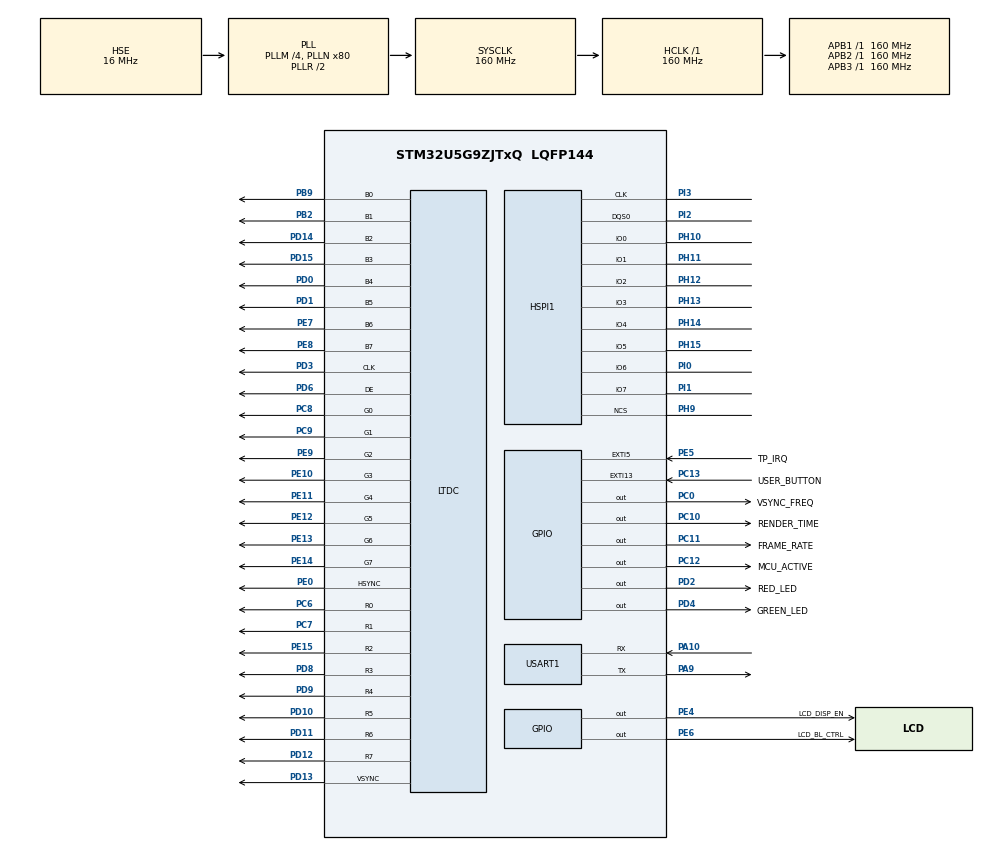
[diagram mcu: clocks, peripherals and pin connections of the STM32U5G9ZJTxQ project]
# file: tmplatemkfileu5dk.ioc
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CORTEX_M33_NS.userName=CORTEX_M33
DCACHE1.DCACHE_Read_Burst_Type=DCACHE_READ_BURST_INCR
DCACHE2.DCACHE_Read_Burst_Type=DCACHE_READ_BURST_INCR
DMA2D.ColorMode=DMA2D_OUTPUT_RGB565
DMA2D.Mode=DMA2D_R2M
GPDMA1.DATAALIGNEMENT_GPDMACH0=DMA_DATA_PACK
GPDMA1.DATAHANDLING_GPDMACH0=ENABLE
GPDMA1.DESTBURSTLENGTH_GPDMACH0=8
GPDMA1.DESTBURSTLENGTH_GPDMACH1=8
GPDMA1.DESTDATAWIDTH_GPDMACH0=DMA_DEST_DATAWIDTH_WORD
GPDMA1.DESTDATAWIDTH_GPDMACH1=DMA_DEST_DATAWIDTH_WORD
GPDMA1.DESTINC_GPDMACH1=DMA_DINC_INCREMENTED
GPDMA1.DIRECTION_GPDMACH0=DMA_MEMORY_TO_PERIPH
GPDMA1.IPHANDLE_GPDMACH0-SIMPLEREQUEST_GPDMACH0=__NULL
GPDMA1.IPHANDLE_GPDMACH1-SIMPLEREQUEST_GPDMACH1=__NULL
GPDMA1.PRIORITY_GPDMACH0=DMA_HIGH_PRIORITY
GPDMA1.PRIORITY_GPDMACH1=DMA_HIGH_PRIORITY
GPDMA1.REQUEST_GPDMACH0=GPDMA1_REQUEST_JPEG_RX
GPDMA1.REQUEST_GPDMACH1=GPDMA1_REQUEST_JPEG_TX
GPDMA1.SRCBURSTLENGTH_GPDMACH0=8
GPDMA1.SRCBURSTLENGTH_GPDMACH1=8
GPDMA1.SRCDATAWIDTH_GPDMACH0=DMA_SRC_DATAWIDTH_BYTE
GPDMA1.SRCDATAWIDTH_GPDMACH1=DMA_SRC_DATAWIDTH_WORD
GPDMA1.SRCINC_GPDMACH0=DMA_SINC_INCREMENTED
GPDMA1.TRANSFERALLOCATEDPORTDEST_GPDMACH0=DMA_DEST_ALLOCATED_PORT0
GPDMA1.TRANSFERALLOCATEDPORTDEST_GPDMACH1=DMA_DEST_ALLOCATED_PORT1
GPDMA1.TRANSFERALLOCATEDPORTSRC_GPDMACH0=DMA_SRC_ALLOCATED_PORT1
HSPI1.ChipSelectHighTimeCycle=2
HSPI1.DeviceType=SPI_DEVICE_FLASH
HSPI1.FifoThresholdByte=4
HSPI1.MemorySize=HAL_XSPI_SIZE_1GB
HSPI1.MemoryType=HAL_XSPI_MEMTYPE_MACRONIX
JPEG.JPEG_RGB_FORMAT=JPEG_RGB565
JPEG.USE_JPEG_ENCODER=0
LTDC.ActiveH=480
LTDC.ActiveW=800
LTDC.Alpha_L0=255
LTDC.HBP=8
LTDC.HFP=8
LTDC.HSync=5
LTDC.ImageHeight_L0=480
LTDC.ImageWidth_L0=800
LTDC.Layers=0
LTDC.PixelFormat_L0=LTDC_PIXEL_FORMAT_RGB565
LTDC.Red=0
LTDC.VBP=8
LTDC.VFP=14
LTDC.VSync=5
LTDC.WindowX0_L0=0
LTDC.WindowX1_L0=800
LTDC.WindowY0_L0=0
LTDC.WindowY1_L0=480
Mcu.Family=STM32U5
Mcu.Name=STM32U5G9ZJTxQ
Mcu.Package=LQFP144
NVIC.DMA2D_IRQn=true\:0\:0\:false\:false\:true\:false\:true\:true\:true
NVIC.EXTI13_IRQn=true\:5\:0\:true\:false\:true\:false\:true\:true\:true
NVIC.GPDMA1_Channel0_IRQn=true\:6\:0\:true\:false\:true\:true\:false\:true\:true
NVIC.GPDMA1_Channel1_IRQn=true\:7\:0\:true\:false\:true\:true\:false\:true\:true
NVIC.GPU2D_ER_IRQn=true\:0\:0\:false\:false\:true\:false\:true\:true\:true
NVIC.GPU2D_IRQn=true\:0\:0\:false\:false\:true\:false\:true\:true\:true
NVIC.JPEG_IRQn=true\:8\:0\:true\:false\:true\:false\:true\:true\:true
NVIC.LTDC_ER_IRQn=true\:0\:0\:false\:false\:true\:false\:true\:true\:true
NVIC.LTDC_IRQn=true\:0\:0\:false\:false\:true\:false\:true\:true\:true
NVIC.PriorityGroup=NVIC_PRIORITYGROUP_4
NVIC.TIM6_IRQn=true\:15\:0\:false\:false\:true\:false\:false\:true\:true
NVIC.TimeBase=TIM6_IRQn
NVIC.TimeBaseIP=TIM6
PA10.Mode=Asynchronous
PA10.Signal=USART1_RX
PA13\ (JTMS/SWDIO).Mode=Serial_Wire
PA13\ (JTMS/SWDIO).Signal=DEBUG_JTMS-SWDIO
PA14\ (JTCK/SWCLK).Mode=Serial_Wire
PA14\ (JTCK/SWCLK).Signal=DEBUG_JTCK-SWCLK
PA9.Mode=Asynchronous
PA9.Signal=USART1_TX
PB2.Mode=RGB888
PB2.Signal=LTDC_B1
PB9.Mode=RGB888
PB9.Signal=LTDC_B0
PC0.GPIO_Label=VSYNC_FREQ
PC0.GPIO_Speed=GPIO_SPEED_FREQ_MEDIUM
PC0.Signal=GPIO_Output
PC10.GPIO_Label=RENDER_TIME
PC10.GPIO_Speed=GPIO_SPEED_FREQ_MEDIUM
PC10.Signal=GPIO_Output
PC11.GPIO_Label=FRAME_RATE
PC11.GPIO_Speed=GPIO_SPEED_FREQ_MEDIUM
PC11.Signal=GPIO_Output
PC12.GPIO_Label=MCU_ACTIVE
PC12.GPIO_Speed=GPIO_SPEED_FREQ_MEDIUM
PC12.Signal=GPIO_Output
PC13.GPIO_Label=USER_BUTTON
PC13.GPIO_ModeDefaultEXTI=GPIO_MODE_IT_FALLING
PC13.GPIO_PuPd=GPIO_PULLDOWN
PC13.Signal=GPXTI13
PC6.Mode=RGB888
PC6.Signal=LTDC_R0
PC7.Mode=RGB888
PC7.Signal=LTDC_R1
PC8.Mode=RGB888
PC8.Signal=LTDC_G0
PC9.Mode=RGB888
PC9.Signal=LTDC_G1
PD0.Mode=RGB888
PD0.Signal=LTDC_B4
PD1.Mode=RGB888
PD1.Signal=LTDC_B5
PD10.Mode=RGB888
PD10.Signal=LTDC_R5
PD11.Mode=RGB888
PD11.Signal=LTDC_R6
PD12.Mode=RGB888
PD12.Signal=LTDC_R7
PD13.Mode=RGB888
PD13.Signal=LTDC_VSYNC
PD14.Mode=RGB888
PD14.Signal=LTDC_B2
PD15.Mode=RGB888
PD15.Signal=LTDC_B3
PD2.GPIO_Label=RED_LED
PD2.GPIO_ModeDefaultOutputPP=GPIO_MODE_OUTPUT_OD
PD2.GPIO_PuPd=GPIO_NOPULL
PD2.GPIO_Speed=GPIO_SPEED_FREQ_MEDIUM
PD2.PinState=GPIO_PIN_SET
PD2.Signal=GPIO_Output
PD3.Mode=RGB888
PD3.Signal=LTDC_CLK
PD4.GPIO_Label=GREEN_LED
PD4.GPIO_ModeDefaultOutputPP=GPIO_MODE_OUTPUT_OD
PD4.GPIO_PuPd=GPIO_NOPULL
PD4.GPIO_Speed=GPIO_SPEED_FREQ_MEDIUM
PD4.PinState=GPIO_PIN_SET
PD4.Signal=GPIO_Output
PD6.Mode=RGB888
PD6.Signal=LTDC_DE
PD8.Mode=RGB888
PD8.Signal=LTDC_R3
PD9.Mode=RGB888
PD9.Signal=LTDC_R4
PE0.Mode=RGB888
PE0.Signal=LTDC_HSYNC
PE10.Mode=RGB888
PE10.Signal=LTDC_G3
PE11.Mode=RGB888
PE11.Signal=LTDC_G4
PE12.Mode=RGB888
PE12.Signal=LTDC_G5
PE13.Mode=RGB888
PE13.Signal=LTDC_G6
PE14.Mode=RGB888
PE14.Signal=LTDC_G7
PE15.Mode=RGB888
PE15.Signal=LTDC_R2
PE4.GPIO_Label=LCD_DISP_EN
PE4.PinState=GPIO_PIN_SET
PE4.Signal=GPIO_Output
PE5.GPIO_Label=TP_IRQ
PE5.Signal=GPXTI5
PE6.GPIO_Label=LCD_BL_CTRL
PE6.GPIO_ModeDefaultOutputPP=GPIO_MODE_OUTPUT_OD
PE6.GPIO_PuPd=GPIO_NOPULL
PE6.PinState=GPIO_PIN_SET
PE6.Signal=GPIO_Output
PE7.Mode=RGB888
PE7.Signal=LTDC_B6
PE8.Mode=RGB888
PE8.Signal=LTDC_B7
PE9.Mode=RGB888
PE9.Signal=LTDC_G2
PH0-OSC_IN\ (PH0).Mode=HSE-External-Oscillator
PH0-OSC_IN\ (PH0).Signal=RCC_OSC_IN
PH1-OSC_OUT\ (PH1).Mode=HSE-External-Oscillator
PH1-OSC_OUT\ (PH1).Signal=RCC_OSC_OUT
PH10.Mode=octo_mode
PH10.Signal=HSPI1_IO0
PH11.Mode=octo_mode
PH11.Signal=HSPI1_IO1
PH12.Mode=octo_mode
PH12.Signal=HSPI1_IO2
PH13.Mode=octo_mode
PH13.Signal=HSPI1_IO3
PH14.Mode=octo_mode
PH14.Signal=HSPI1_IO4
PH15.Mode=octo_mode
PH15.Signal=HSPI1_IO5
PH9.Mode=octo_mode
PH9.Signal=HSPI1_NCS
PI0.Mode=octo_mode
PI0.Signal=HSPI1_IO6
PI1.Mode=octo_mode
PI1.Signal=HSPI1_IO7
PI2.Mode=octo_mode
PI2.Signal=HSPI1_DQS0
PI3.Mode=octo_mode
PI3.Signal=HSPI1_CLK
PWR.PowerMode=PWR_SMPS_SUPPLY
ProjectManager.HeapSize=0x200
ProjectManager.StackSize=0x400
ProjectManager.TargetToolchain=CMake
RCC.ADCFreq_Value=16000000
RCC.AHBFreq_Value=160000000
RCC.APB1Freq_Value=160000000
RCC.APB1TimFreq_Value=160000000
RCC.APB2Freq_Value=160000000
RCC.APB2TimFreq_Value=160000000
RCC.APB3Freq_Value=160000000
RCC.CortexFreq_Value=160000000
RCC.EPOD_VALUE=16000000
RCC.FLatency=FLASH_LATENCY_4
RCC.HCLKFreq_Value=160000000
RCC.HSE_VALUE=16000000
RCC.HSI48_VALUE=48000000
RCC.HSI_VALUE=16000000
RCC.LSE_VALUE=32768
RCC.LSIDIV_VALUE=32000
RCC.LTDCCLockSelection=RCC_LTDCCLKSOURCE_PLL3
RCC.MSI_VALUE=4000000
RCC.PLL2M=4
RCC.PLL2N=66
RCC.PLL2Source=RCC_PLLSOURCE_HSE
RCC.PLL3M=4
RCC.PLL3N=125
RCC.PLL3R=20
RCC.PLL3Source=RCC_PLLSOURCE_HSE
RCC.PLLM=4
RCC.PLLN=80
RCC.PLLSourceVirtual=RCC_PLLSOURCE_HSE
RCC.PWR_Regulator_Voltage_Scale=PWR_REGULATOR_VOLTAGE_SCALE1
RCC.SYSCLKFreq_VALUE=160000000
RCC.SYSCLKSource=RCC_SYSCLKSOURCE_PLLCLK
RCC.VCOOutputFreq_Value=320000000
STMicroelectronics.X-CUBE-TOUCHGFX.4.24.2.ApplicationCcGraphicsJjApplication=TouchGFXOoGenerator
STMicroelectronics.X-CUBE-TOUCHGFX.4.24.2.tgfx_app_mem_pool_size=4096*2
STMicroelectronics.X-CUBE-TOUCHGFX.4.24.2.tgfx_buffering_strategy=Double
STMicroelectronics.X-CUBE-TOUCHGFX.4.24.2.tgfx_display_interface=disp_ltdc
STMicroelectronics.X-CUBE-TOUCHGFX.4.24.2.tgfx_framebuffer_stride=Disabled
STMicroelectronics.X-CUBE-TOUCHGFX.4.24.2.tgfx_hardware_accelerator=dma_2d
STMicroelectronics.X-CUBE-TOUCHGFX.4.24.2.tgfx_nemap_accelerator=gpu2d_enabled
STMicroelectronics.X-CUBE-TOUCHGFX.4.24.2.tgfx_vector_fonts=Enabled
STMicroelectronics.X-CUBE-TOUCHGFX.4.24.2.tgfx_vector_rendering=Hardware
STMicroelectronics.X-CUBE-TOUCHGFX.4.24.2.tgfx_video=Hardware
STMicroelectronics.X-CUBE-TOUCHGFX.4.24.2.tgfx_video_streams=1
STMicroelectronics.X-CUBE-TOUCHGFX.4.24.2.tgfx_vsync=vsync_ltdc
STMicroelectronics.X-CUBE-TOUCHGFX.4.24.2_IsPackSelfContextualization=true
THREADX.TX_APP_CREATION=1
THREADX.TX_APP_GENERATE_INIT_CODE=true
THREADX.TX_APP_MEM_POOL_SIZE=1024*32
THREADX.TX_APP_STACK_SIZE=1024*2
THREADX.TX_TIMER_THREAD_STACK_SIZE=1024*2
THREADX.TX_TIMER_TICKS_PER_SECOND=1000
USART1.FIFOMode=FIFOMODE_ENABLE
USART1.SwapParam=ADVFEATURE_SWAP_DISABLE
USART1.VirtualMode-Asynchronous=VM_ASYNC
VP_CRC_VS_CRC.Mode=CRC_Activate
VP_DCACHE1_VS_DCACHE.Mode=DCACHE_Activate
VP_DCACHE2_VS_DCACHE.Mode=DCACHE_Activate
VP_DMA2D_VS_DMA2D.Mode=DMA2D_Activate
VP_GPDMA1_VS_GPDMACH0.Mode=SIMPLEREQUEST_GPDMACH0
VP_GPDMA1_VS_GPDMACH1.Mode=SIMPLEREQUEST_GPDMACH1
VP_GPU2D_VS_GPU2D.Mode=GPU2D_Activate
VP_ICACHE_VS_ICACHE.Mode=DirectMappedCache
VP_JPEG_VS_JPEG.Mode=JPEG_Activate
VP_LPBAMQUEUE_VS_QUEUE.Mode=QUEUEMODE
VP_LPBAM_VS_SIG1.Mode=SmartRun
VP_LPBAM_VS_SIG4.Mode=LPDMA1
VP_MEMORYMAP_VS_MEMORYMAP.Mode=CurAppReg
VP_PWR_VS_LPOM.Mode=PowerOptimisation
VP_PWR_VS_SECSignals.Mode=Security/Privilege
VP_RNG_VS_RNG.Mode=RNG_Activate
VP_STMicroelectronics.X-CUBE-TOUCHGFX_VS_GraphicsJjApplication_4.24.2.Mode=GraphicsJjApplication
VP_SYS_VS_tim6.Mode=TIM6
VP_THREADX_VS_RTOSJjThreadXJjCoreJjDefault.Mode=Core_Default
VP_TIM1_VS_ClockSourceINT.Mode=Internal
board=custom

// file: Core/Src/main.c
/* USER CODE BEGIN Header */
/**
  ******************************************************************************
  * @file           : main.c
  * @brief          : Main program body
  ******************************************************************************
  * @attention
  *
  * Copyright (c) 2025 STMicroelectronics.
  * All rights reserved.
  *
  * This software is licensed under terms that can be found in the LICENSE file
  * in the root directory of this software component.
  * If no LICENSE file comes with this software, it is provided AS-IS.
  *
  ******************************************************************************
  */
/* USER CODE END Header */
#include "app_threadx.h"
#include "main.h"
#include "jpeg_utils_conf.h"
#include "crc.h"
#include "dcache.h"
#include "dma2d.h"
#include "gpdma.h"
#include "gpu2d.h"
#include "hspi.h"
#include "icache.h"
#include "jpeg.h"
#include "ltdc.h"
#include "memorymap.h"
#include "rng.h"
#include "tim.h"
#include "usart.h"
#include "gpio.h"
#include "app_touchgfx.h"

/* USER CODE BEGIN Includes */
#include <app.h>
#include <logger.h>
/* USER CODE END Includes */

void SystemClock_Config(void);
static void SystemPower_Config(void);

/* USER CODE BEGIN 0 */

// #define RED_LED_Pin GPIO_PIN_2
// #define RED_LED_GPIO_Port GPIOD
// #define GREEN_LED_Pin GPIO_PIN_4
// #define GREEN_LED_GPIO_Port GPIOD

#define LOADER_RAM_BUFFER_SIZE (64 * 1024)
uint8_t __attribute__((section(".loader_ram_buff_section"))) loader_ram_buffer[LOADER_RAM_BUFFER_SIZE];

uint32_t __attribute__((section(".loader_ram_keep_section"))) loader_checksum;

// TODO idea to handle errors
// Can use limit sum: LOADER_RAM_BUFFER_SIZE * 255, much less than u32 max value.
uint32_t __attribute__((section(".loader_code_section"))) loader_copy_to_ext_flash(uint32_t flash_offset, uint32_t loader_bytes_count) {
  if (loader_bytes_count > LOADER_RAM_BUFFER_SIZE) {
    return 0xFFFFFFFF;
  }

  // Copy to flash
  uint32_t transfer_status = MY_NOR_transfer_block(
    flash_offset,
    loader_bytes_count,
    (uint8_t*)loader_ram_buffer,
    LOADER_RAM_BUFFER_SIZE
  );

  if (transfer_status > 0xFFFFFFF0) {
    return transfer_status;
  }

  // Calculate checksum
  uint32_t checksum = transfer_status;
  // for (uint32_t idx = 0; idx < loader_bytes_count; ++idx) {
  //   checksum += (uint32_t)(loader_ram_buffer[idx]);
  // }

  loader_bytes_count = 0;
  loader_checksum = checksum;
  HAL_GPIO_TogglePin(RED_LED_GPIO_Port, RED_LED_Pin);

  return checksum;
}

void __attribute__((section(".loader_code_section"))) Loader_Breakpoint() {
  green_reset();
  green_set();
}

void green_togl() {
  HAL_GPIO_TogglePin(GREEN_LED_GPIO_Port, GREEN_LED_Pin);
}

void green_set() {
  HAL_GPIO_WritePin(GREEN_LED_GPIO_Port, GREEN_LED_Pin, GPIO_PIN_RESET);
}

void green_reset() {
  HAL_GPIO_WritePin(GREEN_LED_GPIO_Port, GREEN_LED_Pin, GPIO_PIN_SET);
}
/* USER CODE END 0 */

int main(void)
{

  /* MCU Configuration--------------------------------------------------------*/

  /* Reset of all peripherals, Initializes the Flash interface and the Systick. */
  HAL_Init();

  /* Configure the System Power */
  SystemPower_Config();

  /* Configure the system clock */
  SystemClock_Config();

  /* Initialize all configured peripherals */
  MX_GPIO_Init();
  MX_GPDMA1_Init();
  MX_RNG_Init();
  MX_TIM1_Init();
  MX_USART1_UART_Init();
  MX_CRC_Init();
  MX_DMA2D_Init();
  MX_LTDC_Init();
  MX_GPU2D_Init();
  MX_JPEG_Init();
  MX_ICACHE_Init();
  MX_DCACHE1_Init();
  MX_DCACHE2_Init();
  MX_HSPI1_Init();
  /* Call PreOsInit function */
  MX_TouchGFX_PreOSInit();
  /* USER CODE BEGIN 2 */
    // logger_setup();

  // HSPI_NOR_demo();
  // HSPI_NOR_my_demo();

  MY_NOR_Setup();

  green_togl();
  Loader_Breakpoint();

  int status = BSP_HSPI_NOR_EnableMemoryMappedMode(0);
  if (status != 0) {
      Error_Handler();
  }

  // if (HAL_ICACHE_Disable() != HAL_OK)
  // {
  //   Error_Handler();
  // }

  // if (HAL_DCACHE_Disable(&hdcache2) != HAL_OK)
  // {
  //   Error_Handler();
  // }

  HAL_Delay(500);

  /* USER CODE END 2 */

  MX_ThreadX_Init();

  /* We should never get here as control is now taken by the scheduler */

  /* Infinite loop */
  /* USER CODE BEGIN WHILE */
    app_setup();
  while (1)
  {
    app_loop();
    /* USER CODE END WHILE */

  }
}

void SystemClock_Config(void)
{
  RCC_OscInitTypeDef RCC_OscInitStruct = {0};
  RCC_ClkInitTypeDef RCC_ClkInitStruct = {0};

  /** Configure the main internal regulator output voltage
  */
  if (HAL_PWREx_ControlVoltageScaling(PWR_REGULATOR_VOLTAGE_SCALE1) != HAL_OK)
  {
    Error_Handler();
  }

  /** Initializes the CPU, AHB and APB buses clocks
  */
  RCC_OscInitStruct.OscillatorType = RCC_OSCILLATORTYPE_HSI48|RCC_OSCILLATORTYPE_HSE;
  RCC_OscInitStruct.HSEState = RCC_HSE_ON;
  RCC_OscInitStruct.HSI48State = RCC_HSI48_ON;
  RCC_OscInitStruct.PLL.PLLState = RCC_PLL_ON;
  RCC_OscInitStruct.PLL.PLLSource = RCC_PLLSOURCE_HSE;
  RCC_OscInitStruct.PLL.PLLMBOOST = RCC_PLLMBOOST_DIV1;
  RCC_OscInitStruct.PLL.PLLM = 4;
  RCC_OscInitStruct.PLL.PLLN = 80;
  RCC_OscInitStruct.PLL.PLLP = 2;
  RCC_OscInitStruct.PLL.PLLQ = 2;
  RCC_OscInitStruct.PLL.PLLR = 2;
  RCC_OscInitStruct.PLL.PLLRGE = RCC_PLLVCIRANGE_0;
  RCC_OscInitStruct.PLL.PLLFRACN = 0;
  if (HAL_RCC_OscConfig(&RCC_OscInitStruct) != HAL_OK)
  {
    Error_Handler();
  }

  /** Initializes the CPU, AHB and APB buses clocks
  */
  RCC_ClkInitStruct.ClockType = RCC_CLOCKTYPE_HCLK|RCC_CLOCKTYPE_SYSCLK
                              |RCC_CLOCKTYPE_PCLK1|RCC_CLOCKTYPE_PCLK2
                              |RCC_CLOCKTYPE_PCLK3;
  RCC_ClkInitStruct.SYSCLKSource = RCC_SYSCLKSOURCE_PLLCLK;
  RCC_ClkInitStruct.AHBCLKDivider = RCC_SYSCLK_DIV1;
  RCC_ClkInitStruct.APB1CLKDivider = RCC_HCLK_DIV1;
  RCC_ClkInitStruct.APB2CLKDivider = RCC_HCLK_DIV1;
  RCC_ClkInitStruct.APB3CLKDivider = RCC_HCLK_DIV1;

  if (HAL_RCC_ClockConfig(&RCC_ClkInitStruct, FLASH_LATENCY_4) != HAL_OK)
  {
    Error_Handler();
  }
}

/**
  * @brief Power Configuration
  * @retval None
  */
static void SystemPower_Config(void)
{

  /*
   * Switch to SMPS regulator instead of LDO
   */
  if (HAL_PWREx_ConfigSupply(PWR_SMPS_SUPPLY) != HAL_OK)
  {
    Error_Handler();
  }
}

void HAL_TIM_PeriodElapsedCallback(TIM_HandleTypeDef *htim)
{
  if (htim->Instance == TIM6) {
    HAL_IncTick();
  }
}

void Error_Handler(void)
{
  __disable_irq();
  while (1)
  {
  }
}
